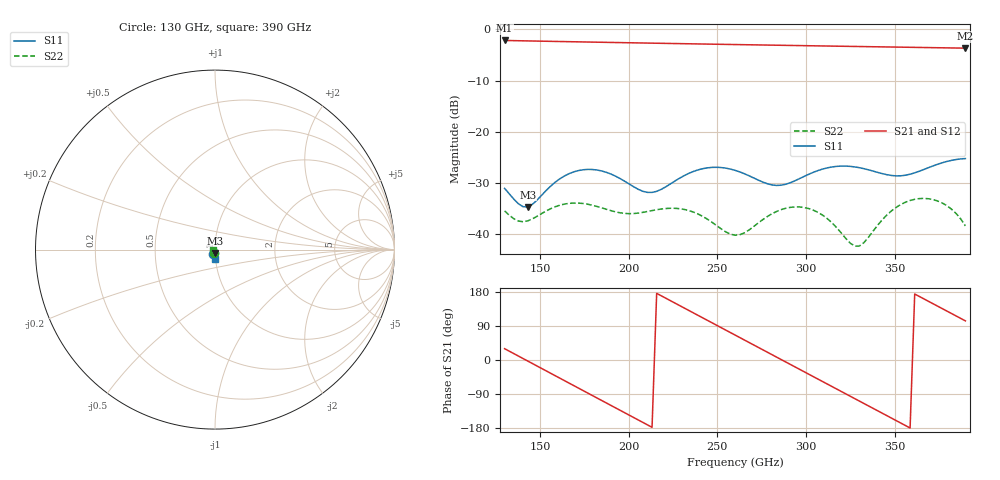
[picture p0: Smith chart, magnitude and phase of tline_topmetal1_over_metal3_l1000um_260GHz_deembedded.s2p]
! Created with skrf 2.0.1 (http://scikit-rf.org).
# GHz S DB R 50.0
!freq dBS11 angS11 dBS21 angS21 dBS12 angS12 dBS22 angS22
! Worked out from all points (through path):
!   101 points, 130 GHz to 390 GHz, reference 50 ohm
!   highest |S21| = -2.15 dB at 130 GHz (marker M1); lowest = -3.7 dB at 390 GHz (marker M2)
!   group delay of S21, straight-line fit = 6.91 ps
!   lowest |S11| = -34.7 dB at 143 GHz (marker M3), VSWR 1.04, Z = 50.1 - j1.84 ohm
!   |S11| at or under -10 dB: start of sweep to end of sweep
!   |S22| runs from -42.4 to -33.0 dB; largest |S21 - S12| = 8.5e-14
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130  -31.08 -114.4  -2.15 29.8  -2.15 29.8  -35.49 -105.0
143  -34.70 -86.0  -2.24 -2.6  -2.24 -2.6  -37.44 -81.6
156  -30.63 -66.4  -2.33 -35.1  -2.33 -35.1  -35.05 -74.0
174.2  -27.44 -84.6  -2.44 -80.5  -2.44 -80.5  -34.03 -89.0
187.2  -27.91 -100.3  -2.52 -112.9  -2.52 -112.9  -35.14 -96.4
200.2  -30.20 -106.2  -2.60 -145.3  -2.60 -145.3  -36.02 -94.1
210.6  -31.86 -94.8  -2.67 -171.2  -2.67 -171.2  -35.60 -92.7
218.4  -31.27 -82.3  -2.71 169.4  -2.71 169.4  -35.11 -95.9
228.8  -29.07 -77.6  -2.77 143.5  -2.77 143.5  -35.05 -104.7
241.8  -27.22 -86.3  -2.85 111.2  -2.85 111.2  -36.56 -115.8
249.6  -26.95 -94.0  -2.89 91.8  -2.89 91.8  -38.35 -116.8
260  -27.54 -102.9  -2.95 65.9  -2.95 65.9  -40.24 -102.2
273  -29.44 -105.3  -3.03 33.6  -3.03 33.6  -37.88 -84.9
283.4  -30.50 -95.2  -3.08 7.8  -3.08 7.8  -35.60 -91.0
293.8  -29.59 -83.8  -3.14 -18.1  -3.14 -18.1  -34.70 -104.9
304.2  -27.94 -82.4  -3.20 -43.9  -3.20 -43.9  -35.34 -120.3
317.2  -26.78 -89.5  -3.27 -76.2  -3.27 -76.2  -38.70 -131.9
327.6  -26.88 -96.1  -3.33 -102.0  -3.33 -102.0  -42.38 -112.1
348.4  -28.56 -94.4  -3.44 -153.6  -3.44 -153.6  -35.45 -88.0
366.6  -27.38 -81.9  -3.53 161.2  -3.53 161.2  -33.04 -121.5
379.6  -25.81 -84.3  -3.60 129.0  -3.60 129.0  -34.48 -150.1
390  -25.25 -90.4  -3.66 103.2  -3.66 103.2  -38.41 -173.1
